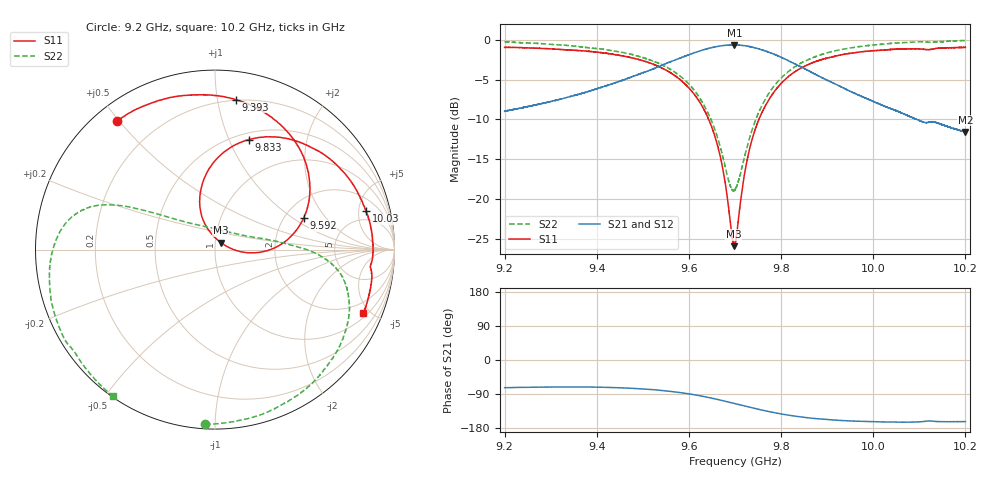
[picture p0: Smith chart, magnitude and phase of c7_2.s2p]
!Agilent Technologies,N5242A,MY51221714,A.09.90.19
!Agilent N5242A: A.09.90.19
!Date: Saturday, March 16, 2024 10:05:56
!Correction: S11(Full 2 Port(1,2))
!S21(Full 2 Port(1,2))
!S12(Full 2 Port(1,2))
!S22(Full 2 Port(1,2))
!S2P File: Measurements: S11, S21, S12, S22:
# Hz S  dB  R 50
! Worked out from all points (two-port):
!   16001 points, 9.2 GHz to 10.2 GHz, reference 50 ohm
!   highest |S21| = -0.60 dB at 9.699 GHz (marker M1); lowest = -11.6 dB at 10.2 GHz (marker M2)
!   |S21| within 3 dB of the highest: 9.523503 GHz to 9.523684 GHz (180.8 kHz wide, 0.0019 % of centre); 9.524 GHz to 9.851 GHz (327.1 MHz wide, 3.38 % of centre)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
!   lowest |S11| = -26.0 dB at 9.698 GHz (marker M3), VSWR 1.11, Z = 53.2 + j4.1 ohm
!   |S11| at or under -10 dB: 9.643 GHz to 9.752 GHz (108.8 MHz wide, 1.12 % of centre)
!   |S22| runs from -19.0 to 0.0 dB; largest |S21 - S12| = 0.012
!   S11 on the Smith chart (normalised r, x): 9.2 GHz: 0.07, +0.49; 9.393 GHz: 0.20, +1.13; 9.592 GHz: 2.52, +1.24; 9.833 GHz: 0.57, +1.18; 10.03 GHz: 3.47, +6.05; 10.2 GHz: 1.24, -4.58
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9.2e9  -0.92 127.3  -8.96 -73.1  -8.95 -73.7  -0.22 -93.2
9.277625e9  -1.04 109.8  -8.03 -71.7  -8.01 -72.1  -0.44 -71.8
9.366688e9  -1.35 88.8  -6.73 -71.3  -6.70 -71.8  -0.85 -48.3
9.39275e9  -1.48 82.1  -6.27 -71.5  -6.26 -72.1  -1.03 -41.7
9.463812e9  -2.08 62.8  -4.90 -74.0  -4.89 -74.5  -1.66 -25.2
9.533375e9  -3.30 41.2  -3.37 -79.4  -3.35 -79.9  -2.89 -11.3
9.5925e9  -5.59 19.7  -2.01 -88.0  -2.00 -88.5  -5.11 -1.9
9.657438e9  -12.33 -3.7  -0.85 -102.8  -0.85 -103.3  -11.43 13.4
9.674688e9  -16.60 -4.7  -0.69 -107.7  -0.68 -108.2  -14.95 26.1
9.697688e9  -25.95 49.8  -0.61 -114.5  -0.60 -115.0  -18.90 79.2
9.69875e9  -25.80 56.1  -0.60 -114.8  -0.60 -115.3  -18.90 82.9
9.7e9  -25.71 63.2  -0.62 -115.2  -0.59 -115.8  -18.87 86.4
9.72375e9  -15.88 111.8  -0.74 -122.4  -0.71 -122.9  -14.02 132.8
9.746e9  -10.89 107.4  -1.01 -128.8  -1.00 -129.5  -9.85 145.5
9.833188e9  -3.87 73.0  -3.09 -148.6  -3.09 -149.1  -3.23 159.0
9.866688e9  -2.89 60.9  -4.08 -153.6  -4.07 -154.1  -2.26 163.4
9.949e9  -1.67 35.3  -6.41 -160.7  -6.42 -161.2  -1.00 177.3
1.0029e10  -1.22 14.2  -8.43 -163.5  -8.42 -164.1  -0.47 -165.9
1.003338e10  -1.21 13.1  -8.53 -163.6  -8.52 -164.1  -0.44 -164.9
1.010712e10  -1.14 -4.2  -10.30 -162.6  -10.29 -163.2  -0.22 -148.3
1.019994e10  -0.93 -23.0  -11.58 -162.4  -11.57 -163.1  -0.05 -125.0
1.02e10  -0.92 -23.1  -11.58 -162.5  -11.57 -163.1  -0.05 -124.9
